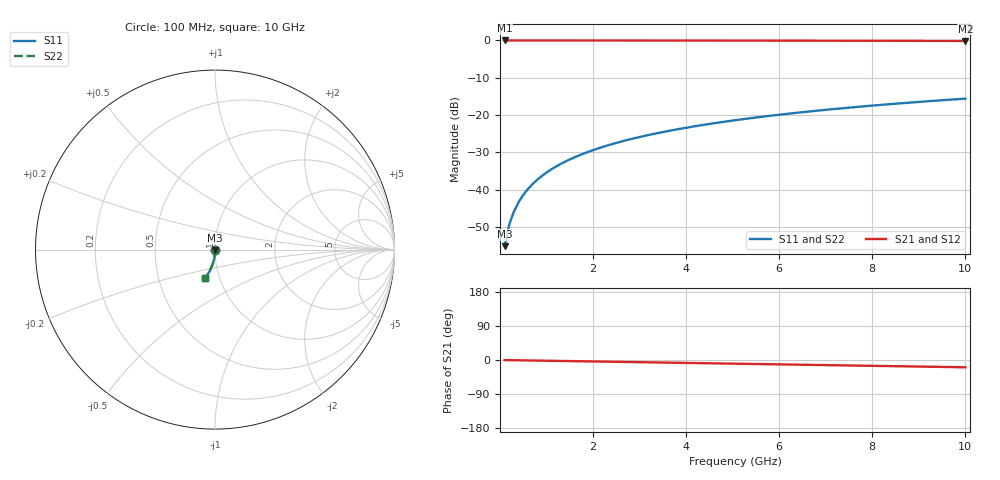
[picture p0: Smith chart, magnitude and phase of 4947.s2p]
# Hz S RI R 50.00
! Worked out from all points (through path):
!   100 points, 100 MHz to 10 GHz, reference 50 ohm
!   highest |S21| = 0.00 dB at 100 MHz (marker M1); lowest = -0.1 dB at 10 GHz (marker M2)
!   group delay of S21, straight-line fit = 5.34 ps
!   lowest |S11| = -55.2 dB at 100 MHz (marker M3), VSWR 1.00, Z = 50 - j0.169 ohm
!   |S11| at or under -10 dB: start of sweep to end of sweep
!   |S22| runs from -55.2 to -15.6 dB; largest |S21 - S12| = 0
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1e8  0.000415 -0.00169  0.9996 -0.00336  0.9996 -0.00336  0.000415 -0.00169
2e8  0.000399 -0.00338  0.9995 -0.00672  0.9995 -0.00672  0.000399 -0.00338
3e8  0.00037 -0.00508  0.9995 -0.0101  0.9995 -0.0101  0.00037 -0.00508
4e8  0.000329 -0.00677  0.9994 -0.0134  0.9994 -0.0134  0.000329 -0.00677
5e8  0.000277 -0.00846  0.9994 -0.0168  0.9994 -0.0168  0.000277 -0.00846
6e8  0.000214 -0.0102  0.9993 -0.0201  0.9993 -0.0201  0.000214 -0.0102
7e8  0.000139 -0.0118  0.9992 -0.0235  0.9992 -0.0235  0.000139 -0.0118
8e8  5.21e-05 -0.0135  0.9991 -0.0269  0.9991 -0.0269  5.21e-05 -0.0135
9e8  -4.58e-05 -0.0152  0.999 -0.0302  0.999 -0.0302  -4.58e-05 -0.0152
1.1e9  -0.000276 -0.0186  0.9987 -0.0369  0.9987 -0.0369  -0.000276 -0.0186
1.4e9  -0.000707 -0.0237  0.9981 -0.047  0.9981 -0.047  -0.000707 -0.0237
1.8e9  -0.00144 -0.0304  0.9972 -0.0604  0.9972 -0.0604  -0.00144 -0.0304
2.1e9  -0.00211 -0.0354  0.9964 -0.0704  0.9964 -0.0704  -0.00211 -0.0354
2.5e9  -0.00316 -0.0421  0.9951 -0.0838  0.9951 -0.0838  -0.00316 -0.0421
2.9e9  -0.00439 -0.0488  0.9935 -0.0971  0.9935 -0.0971  -0.00439 -0.0488
3.4e9  -0.00618 -0.0571  0.9913 -0.1138  0.9913 -0.1138  -0.00618 -0.0571
4.2e9  -0.00961 -0.0702  0.987 -0.1403  0.987 -0.1403  -0.00961 -0.0702
5.1e9  -0.0143 -0.0847  0.9811 -0.1698  0.9811 -0.1698  -0.0143 -0.0847
5.9e9  -0.0192 -0.0973  0.975 -0.1958  0.975 -0.1958  -0.0192 -0.0973
6.7e9  -0.0248 -0.1097  0.968 -0.2216  0.968 -0.2216  -0.0248 -0.1097
8.4e9  -0.0387 -0.1347  0.9504 -0.2752  0.9504 -0.2752  -0.0387 -0.1347
1e10  -0.0543 -0.1566  0.9306 -0.3241  0.9306 -0.3241  -0.0543 -0.1566
